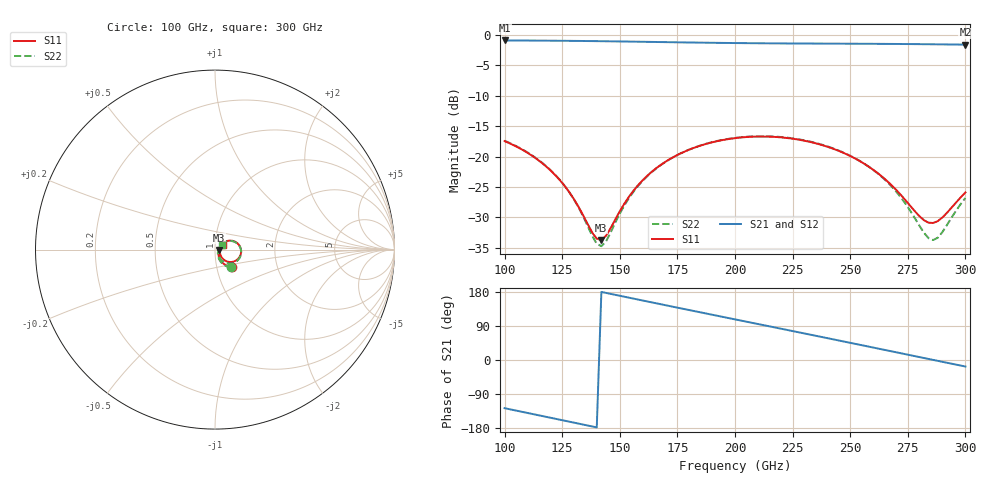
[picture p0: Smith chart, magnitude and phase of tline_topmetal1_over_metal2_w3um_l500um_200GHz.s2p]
#  GHZ S DB R 50
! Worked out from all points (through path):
!   101 points, 100 GHz to 300 GHz, reference 50 ohm
!   highest |S21| = -0.91 dB at 100 GHz (marker M1); lowest = -1.6 dB at 300 GHz (marker M2)
!   group delay of S21, straight-line fit = 3.46 ps
!   lowest |S11| = -33.7 dB at 142 GHz (marker M3), VSWR 1.04, Z = 52.1 - j0.268 ohm
!   |S11| at or under -10 dB: start of sweep to end of sweep
!   |S22| runs from -34.7 to -16.6 dB; largest |S21 - S12| = 9.8e-14
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100  -17.46 -45.4  -0.91 -127.2  -0.91 -127.2  -17.40 -47.3
110  -19.39 -54.5  -0.93 -139.8  -0.93 -139.8  -19.33 -56.8
120  -22.30 -61.5  -0.95 -152.5  -0.95 -152.5  -22.25 -64.5
128  -25.82 -62.6  -0.97 -162.7  -0.97 -162.7  -25.81 -66.6
134  -29.59 -54.9  -1.00 -170.3  -1.00 -170.3  -29.76 -60.3
140  -33.50 -24.0  -1.02 -177.9  -1.02 -177.9  -34.34 -29.1
142  -33.72 -7.2  -1.03 179.6  -1.03 179.6  -34.73 -10.1
144  -33.04 8.5  -1.04 177.1  -1.04 177.1  -33.96 7.8
150  -28.99 33.3  -1.07 169.5  -1.07 169.5  -29.38 34.1
156  -25.58 38.8  -1.11 161.9  -1.11 161.9  -25.75 39.0
168  -21.31 34.4  -1.17 146.9  -1.17 146.9  -21.34 33.6
184  -18.32 20.8  -1.26 127.0  -1.26 127.0  -18.30 19.1
200  -16.97 5.1  -1.34 107.2  -1.34 107.2  -16.93 2.7
216  -16.74 -11.0  -1.39 87.5  -1.39 87.5  -16.68 -14.2
234  -17.72 -28.6  -1.42 65.2  -1.42 65.2  -17.66 -33.0
254  -20.71 -45.2  -1.45 40.3  -1.45 40.3  -20.68 -51.7
268  -24.72 -49.4  -1.48 22.8  -1.48 22.8  -24.92 -59.3
280  -29.79 -31.0  -1.52 7.8  -1.52 7.8  -31.34 -45.0
284  -30.87 -14.2  -1.53 2.8  -1.53 2.8  -33.41 -24.4
286  -30.92 -4.5  -1.54 0.3  -1.54 0.3  -33.73 -10.4
290  -30.02 12.8  -1.55 -4.7  -1.55 -4.7  -32.43 14.7
300  -25.89 31.8  -1.60 -17.2  -1.60 -17.2  -26.81 35.9
